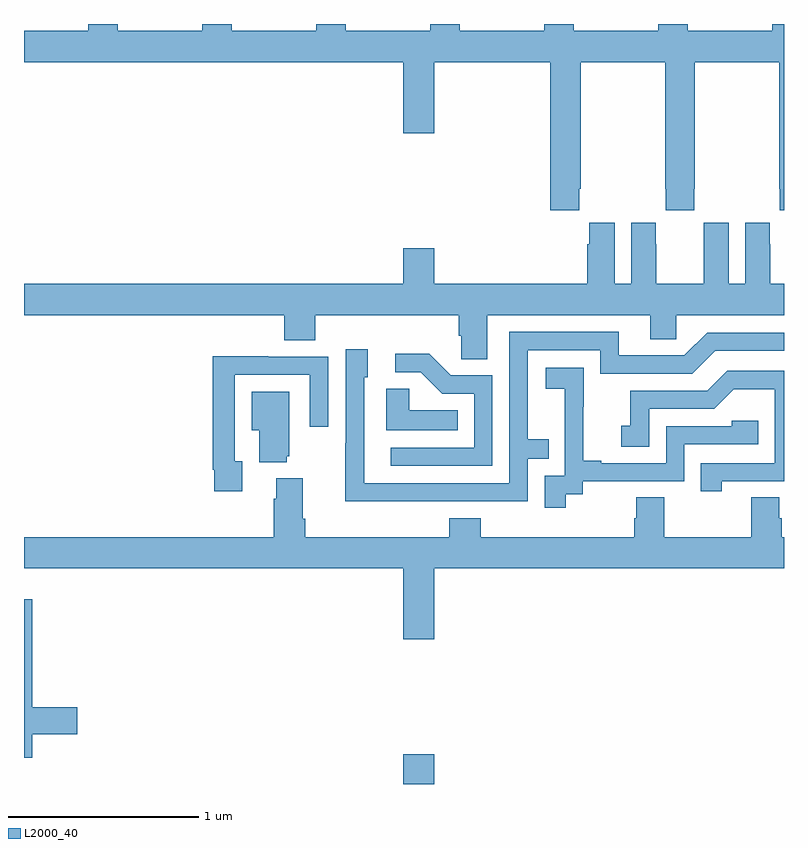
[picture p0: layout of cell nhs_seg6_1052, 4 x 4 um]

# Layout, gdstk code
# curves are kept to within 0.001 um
import gdstk
lib = gdstk.Library(unit=1e-6, precision=1e-09)
def R(c, l, rs):  # rectangles x0, y0, x1, y1
    for r in rs: c.add(gdstk.rectangle(r[:2], r[2:], *l))
def P(c, l, *ps):  # polygons
    for p in ps: c.add(gdstk.Polygon(p, *l))
L2000_40 = (2000, 40)

nhs_seg6_1052 = lib.new_cell('nhs_seg6_1052')
R(nhs_seg6_1052, L2000_40, [(176.996,979.5,177.16,979.657)])
P(nhs_seg6_1052, L2000_40, [(178.339,983.464),(177.894,983.464),(177.894,983.5),(177.739,983.5),(177.739,983.464),(177.294,983.464),(177.294,983.5),(177.139,983.5),(177.139,983.464),(176.694,983.464),(176.694,983.5),(176.539,983.5),(176.539,983.464),(176.094,983.464),(176.094,983.5),(175.939,983.5),(175.939,983.464),(175.494,983.464),(175.494,983.5),(175.339,983.5),(175.339,983.464),(175,983.464),(175,983.3),(176.996,983.3),(176.996,982.926),(177.16,982.926),(177.16,983.3),(177.77,983.3),(177.77,982.521),(177.923,982.521),(177.923,982.633),(177.93,982.633),(177.93,983.3),(178.375,983.3),(178.375,982.633),(178.377,982.633),(178.377,982.521),(178.527,982.521),(178.527,982.633),(178.53,982.633),(178.53,983.3),(178.975,983.3),(178.975,982.633),(178.977,982.633),(178.977,982.521),(179,982.521),(179,983.5),(178.939,983.5),(178.939,983.464),(178.494,983.464),(178.494,983.5),(178.339,983.5)],
  [(177.439,981.968),(178.295,981.968),(178.295,981.841),(178.434,981.841),(178.434,981.968),(179,981.968),(179,982.132),(178.927,982.132),(178.927,982.34),(178.926,982.34),(178.926,982.453),(178.796,982.453),(178.796,982.132),(178.708,982.132),(178.708,982.453),(178.578,982.453),(178.578,982.34),(178.577,982.34),(178.577,982.132),(178.327,982.132),(178.327,982.34),(178.326,982.34),(178.326,982.453),(178.196,982.453),(178.196,982.132),(178.108,982.132),(178.108,982.453),(177.974,982.453),(177.974,982.34),(177.965,982.34),(177.965,982.132),(177.16,982.132),(177.16,982.321),(176.996,982.321),(176.996,982.132),(175,982.132),(175,981.968),(176.369,981.968),(176.369,981.835),(176.534,981.835),(176.534,981.968),(177.287,981.968),(177.287,981.859),(177.3,981.859),(177.3,981.736),(177.439,981.736)],
  [(177.155,980.988),(177.651,980.988),(177.651,981.213),(177.761,981.213),(177.761,981.314),(177.651,981.314),(177.651,981.783),(178.032,981.783),(178.032,981.66),(178.518,981.66),(178.638,981.78),(179,981.78),(179,981.876),(178.596,981.876),(178.476,981.756),(178.129,981.756),(178.129,981.879),(177.555,981.879),(177.555,981.084),(176.79,981.084),(176.79,981.642),(176.809,981.642),(176.809,981.787),(176.694,981.787),(176.694,981.293),(176.692,981.293),(176.692,980.987)],
  [(177.465,981.651),(177.246,981.651),(177.133,981.764),(176.955,981.764),(176.955,981.666),(177.089,981.666),(177.2,981.555),(177.369,981.555),(177.369,981.27),(176.931,981.27),(176.931,981.174),(177.465,981.174)],
  [(176.149,981.198),(176.109,981.198),(176.109,981.654),(176.505,981.654),(176.505,981.381),(176.601,981.381),(176.601,981.75),(176.285,981.75),(176.285,981.752),(175.993,981.752),(175.993,981.154),(176.001,981.154),(176.001,981.042),(176.149,981.042)],
  [(177.85,981.025),(177.942,981.025),(177.942,981.093),(178.476,981.093),(178.476,981.288),(178.865,981.288),(178.865,981.411),(178.725,981.411),(178.725,981.384),(178.38,981.384),(178.38,981.189),(178.039,981.189),(178.039,981.202),(177.944,981.202),(177.944,981.485),(177.945,981.485),(177.945,981.691),(177.747,981.691),(177.747,981.581),(177.845,981.581),(177.845,981.353),(177.846,981.353),(177.846,981.123),(177.741,981.123),(177.741,980.955),(177.85,980.955)],
  [(178.672,981.093),(179,981.093),(179,981.675),(178.7,981.675),(178.595,981.57),(178.192,981.57),(178.192,981.385),(178.143,981.385),(178.143,981.276),(178.29,981.276),(178.29,981.474),(178.632,981.474),(178.736,981.578),(178.95,981.578),(178.95,981.189),(178.561,981.189),(178.561,981.042),(178.672,981.042)],
  [(177.284,981.466),(177.027,981.466),(177.027,981.581),(176.906,981.581),(176.906,981.362),(177.284,981.362)],
  [(176.384,981.225),(176.395,981.225),(176.395,981.565),(176.198,981.565),(176.198,981.362),(176.237,981.362),(176.237,981.194),(176.384,981.194)],
  [(177.16,980.636),(179,980.636),(179,980.8),(178.988,980.8),(178.988,980.898),(178.975,980.898),(178.975,981.008),(178.828,981.008),(178.828,980.8),(178.371,980.8),(178.371,981.008),(178.223,981.008),(178.223,980.898),(178.211,980.898),(178.211,980.8),(177.404,980.8),(177.404,980.899),(177.239,980.899),(177.239,980.8),(176.48,980.8),(176.48,980.896),(176.467,980.896),(176.467,981.109),(176.327,981.109),(176.327,981.002),(176.315,981.002),(176.315,980.8),(175,980.8),(175,980.636),(176.996,980.636),(176.996,980.262),(177.16,980.262)],
  [(175.043,979.762),(175.279,979.762),(175.279,979.904),(175.043,979.904),(175.043,980.473),(175,980.473),(175,979.638),(175.043,979.638)])

lib.write_gds('nhs_seg6_1052.gds')
